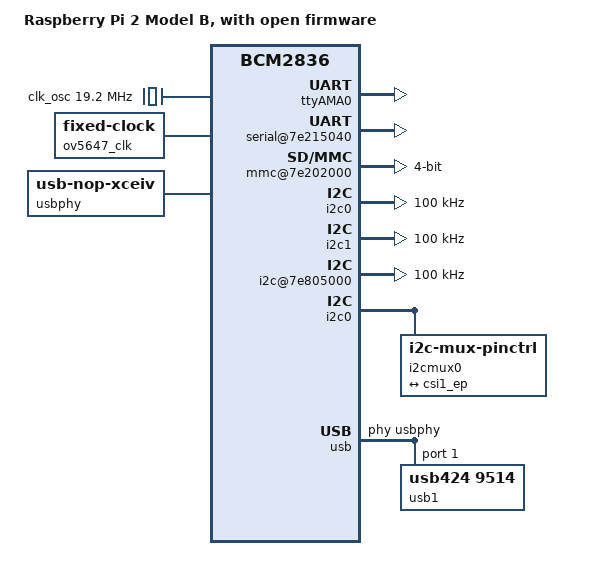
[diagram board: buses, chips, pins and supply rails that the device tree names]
/dts-v1/;

// #define IRQ_TYPE_LEVEL_HIGH      4

#define BCM2835_PLLB_ARM          7
#define BCM2835_CLOCK_UART       19
#define BCM2835_CLOCK_VPU        20
#define BCM2835_CLOCK_V3D        21
#define BCM2835_CLOCK_ISP        22
#define BCM2835_CLOCK_H264       23
#define BCM2835_CLOCK_PERI_IMAGE 29
#define BCM2835_CLOCK_CAM1       46

#define RPI_POWER_DOMAIN_UNICAM1 13

/memreserve/ 0x00000000 0x00001000;

/ {
  compatible = "raspberrypi,2-model-b", "brcm,bcm2836";
  model = "Raspberry Pi 2 Model B, with open firmware";
  #address-cells = <0x01>;
  #size-cells = <0x01>;
  interrupt-parent = <&intc>;

  aliases {
    ethernet0 = &ethernet;
    mmc0 = "/soc/mmc@7e202000";
    framebuffer0 = &framebuffer0;
  };
  chosen {
    stdout-path = &ttyAMA0;
  };
  system {
    compatible = "simple-bus";
    #address-cells = <1>;
    #size-cells = <1>;
    ranges = <>;
    framebuffer0: framebuffer@8000000 {
      compatible = "simple-framebuffer";
      reg = <0x8000000 160000>;
      width = <200>;
      height = <200>;
      stride = <800>;
      format = "a8r8g8b8";
      status = "disabled"; // disabled by default, the bootloader will fill in the right numbers, and enable
    };
  };
  memory {
    device_type = "memory";
  };
  soc {
    compatible = "simple-bus";
    #address-cells = <0x01>;
    #size-cells = <0x01>;
    //        child       parent       length
    ranges = <0x7e000000 0x3f000000 0x1000000 /* map the MMIO space to 0x3f000000 in arm, 16mb long */
              0x40000000 0x40000000 0x1000>; /* identity map the local_intc, 0x1000 bytes long */
    dma-ranges = <0xc0000000 0x00 0x3f000000>; /* map arm physical 0 to the uncached alias, 1008mb long */
    ttyAMA0: serial@7e201000 {
      compatible = "brcm,bcm2835-pl011", "arm,pl011", "arm,primecell";
      reg = <0x7e201000 0x200>;
      interrupts = <2 25>;        // bank 2 irq 25, aka gpu irq 57
      clocks = <&clocks BCM2835_CLOCK_UART
                &clocks BCM2835_CLOCK_VPU>;
      clock-names = "uartclk", "apb_pclk";
      arm,primecell-periphid = <0x241011>;
      cts-event-workaround;
      //pinctrl-names = "default";
      //pinctrl-0 = <0x08 0x09>;
      status = "okay";
    };
    serial@7e215040 {
      compatible = "brcm,bcm2835-aux-uart";
      reg = <0x7e215040 0x40>;
      //interrupts = <0x01 0x1d>;
      //clocks = <0x12 0x00>;
      status = "okay";
      //pinctrl-names = "default";
      //pinctrl-0 = <0x13>; FIXME, should refer to a pinset in the gpio block
    };
    dma: dma@7e007000 {
      compatible = "brcm,bcm2835-dma";
      reg = <0x7e007000 0xf00>;
      interrupts = <1 16>,
                   <1 17>,
                   <1 18>,
                   <1 19>,
                   <1 20>,
                   <1 21>,
                   <1 22>,
                   <1 23>,
                   <1 24>,
                   <1 25>,
                   <1 26>,
                   /* dma channel 11-14 share one irq */
                   <1 27>,
                   <1 27>,
                   <1 27>,
                   <1 27>,
                   /* unused shared irq for all channels */
                   <1 28>;
      interrupt-names = "dma0",
                        "dma1",
                        "dma2",
                        "dma3",
                        "dma4",
                        "dma5",
                        "dma6",
                        "dma7",
                        "dma8",
                        "dma9",
                        "dma10",
                        "dma11",
                        "dma12",
                        "dma13",
                        "dma14",
                        "dma-shared-all";
      #dma-cells = <1>;
      brcm,dma-channel-mask = <0x7f30>;
    };
    intc: interrupt-controller@7e00b200 {
      compatible = "brcm,bcm2836-armctrl-ic";
      reg = <0x7e00b200 0x200>;
      interrupt-controller;
      #interrupt-cells = <0x02>;
      interrupt-parent = <&local_intc>;
      interrupts = <8 4>;
    };
    // allows linux to reboot by setting up the watchdog and not feeding it
    pm: watchdog@7e100000 {
      compatible = "brcm,bcm2835-pm", "brcm,bcm2835-pm-wdt";
      #power-domain-cells = <1>;
      #reset-cells = <1>;
      reg = <0x7e100000 0x114>, <0x7e00a000 0x24>;
      clocks = <&clocks BCM2835_CLOCK_V3D>, <&clocks BCM2835_CLOCK_PERI_IMAGE>, <&clocks BCM2835_CLOCK_H264>, <&clocks BCM2835_CLOCK_ISP>;
      clock-names = "v3d", "peri_image", "h264", "isp";
      system-power-controller;
    };
    clocks: cprman@7e101000 {
      compatible = "brcm,bcm2835-cprman";
      #clock-cells = <1>;
      reg = <0x7e101000 0x2000>;

      /* CPRMAN derives almost everything from the
       * platform's oscillator.  However, the DSI
       * pixel clocks come from the DSI analog PHY.
       */
      clocks = <&clk_osc>;
              //<&dsi0 0>, <&dsi0 1>, <&dsi0 2>,
              //<&dsi1 0>, <&dsi1 1>, <&dsi1 2>;
    };
    gpio: gpio@7e200000 {
      compatible = "brcm,bcm2835-gpio";
      reg = <0x7e200000 0xb4>;
      interrupts = <&intc 0x11>,
                   <&intc 0x12>;
      gpio-controller;
      #gpio-cells = <0x02>;
      interrupt-controller;
      #interrupt-cells = <0x02>;
      pinctrl-names = "default";

      i2c0_bus0_pins: i2c0_gpio0 {
        brcm,pins = <0 1>;
        brcm,function = <0x04>;
      };
      i2c0_bus28_pins: i2c0_gpio28 {
        // on a pi2, this leads to the camera sensor
        // the camera is only going to respond if gpio41 is HIGH
        brcm,pins = <28 29>;
        brcm,function = <0x04>;
      };
      i2c0_cam: i2c0_gpio44 {
        // note, do not use on pi2
        brcm,pins = <44 45>;
        brcm,function = <0x05>;
      };
      i2c0_bus46_pins: i2c0_bus46 {
        brcm,pins = <46 47>;
        brcm,function = <0x04>;
      };

      i2c1_bus2: i2c1_gpio2 {
        brcm,pins = <2 3>;
        brcm,function = <0x04>;
      };
      i2c1_cam: i2c1_gpio44 {
        brcm,pins = <44 45>;
        brcm,function = <0x06>;
      };
      i2c1_smps: i2c1_smps {
        brcm,pins = <46 47>;
        brcm,function = <0x05>;
      };

      sdhost: sdhost_gpio48 {
        brcm,pins = <48 49 50 51 52 53>;
        brcm,function = <0x04>;
      };
    };
    mmc@7e202000 {
      compatible = "brcm,bcm2835-sdhost";
      reg = <0x7e202000 0x100>;
      interrupts = <2 24>;        // bank 2 irq 24, aka gpu irq 56
      clocks = <&clocks BCM2835_CLOCK_VPU>;
      dmas = <&dma (13|(1<<29))>; //0x2000000d>;
      dma-names = "rx-tx";
      status = "okay";
      pinctrl-names = "default";
      pinctrl-0 = <&sdhost>;
      bus-width = <0x04>;
      brcm,overclock-50 = <0x00>;
      brcm,pio-limit = <0x01>;
      //brcm,debug = <1>;
    };
    i2c0: i2c@7e205000 {
      compatible = "brcm,bcm2835-i2c";
      reg = <0x7e205000 0x200>;
      interrupts = <2 21>;
      clocks = <&clocks BCM2835_CLOCK_VPU>;
      #address-cells = <1>;
      #size-cells = <0>;
      //pinctrl-names = "default";
      //pinctrl-0 = <&i2c0_bus0>;
      clock-frequency = <100000>;
    };
    csi1: csi@7e801000 {
      compatible = "brcm,bcm2835-unicam";
      reg = <0x7e801000 0x800>, <0x7e802004 0x4>;
      interrupts = <2 7>;
      clocks = <&clocks BCM2835_CLOCK_CAM1>, <&clocks BCM2835_CLOCK_VPU>;
      clock-names = "lp", "vpu";
      #address-cells = <1>;
      #size-cells = <0>;
      #clock-cells = <1>;
      //power-domains = <&power RPI_POWER_DOMAIN_UNICAM1>;
      brcm,num-data-lanes = <2>;
      status = "disabled";
      port {
        csi1_ep: endpoint {
          remote-endpoint = <&ov5647_0>;
          data-lanes = <1 2>;
        };
      };
    };
    i2c1: i2c@7e804000 {
      compatible = "brcm,bcm2835-i2c";
      reg = <0x7e804000 0x1000>;
      interrupts = <2 21>;
      clocks = <&clocks BCM2835_CLOCK_VPU>;
      #address-cells = <1>;
      #size-cells = <0>;
      //pinctrl-names = "default";
      //pinctrl-0 = <&i2c1>;
      clock-frequency = <100000>; // 100khz
    };
    i2c@7e805000 { // i2c2
      compatible = "brcm,bcm2835-i2c";
      reg = <0x7e805000 0x1000>;
      interrupts = <2 21>;
      clocks = <&clocks BCM2835_CLOCK_VPU>;
      #address-cells = <1>;
      #size-cells = <0>;
      clock-frequency = <100000>; // 100khz
    };
    i2cmux0 {
      compatible = "i2c-mux-pinctrl";
      #address-cells = <1>;
      #size-cells = <0>;
      i2c-parent = <&i2c0>;
      pinctrl-names = "bus0", "bus28";
      pinctrl-0 = <&i2c0_bus0_pins>;
      pinctrl-1 = <&i2c0_bus28_pins>;

      i2c0_bus0: i2c@0 {
        reg = <0>;
        #address-cells = <1>;
        #size-cells = <0>;
      };
      i2c0_bus28: i2c@1 {
        reg = <1>;
        #address-cells = <1>;
        #size-cells = <0>;
        ov5647: ov5647@36 {
          compatible = "ovti,ov5647";
          reg = <0x36>;
          pwdn-gpios = <&gpio 41 1>, <&gpio 32 1>;
          clocks = <&ov5647_clk>;
          rotation = <0>;
          orientation = <2>;
          status = "disabled";
          port {
            ov5647_0: endpoint {
              remote-endpoint = <&csi1_ep>;
              clock-lanes = <0>;
              data-lanes = <1 2>;
              clock-noncontinuous;
              link-frequencies = /bits/ 64 <297000000>;
            };
          };
        };
      };
    };

    i2cmux1 {
      compatible = "i2c-mux-pinctrl";
      #address-cells = <1>;
      #size-cells = <0>;
      i2c-parent = <&i2c1>;
      pinctrl-names = "bus2", "cam1", "smps1";
      pinctrl-0 = <&i2c1_bus2>;
      pinctrl-1 = <&i2c1_cam>;
      pinctrl-2 = <&i2c1_smps>;
      status = "disabled"; // not much need for the 2nd mux
    };
    local_intc: local_intc@40000000 {
      compatible = "brcm,bcm2836-l1-intc";
      reg = <0x40000000 0x100>;
      interrupt-controller;
      #interrupt-cells = <2>;
      interrupt-parent = <&local_intc>;
    };
    usb: usb@7e980000 {
      compatible = "brcm,bcm2835-usb";
      reg = <0x7e980000 0x10000>;
      interrupts = <1 9>;
      #address-cells = <1>;
      #size-cells = <0>;
      clocks = <&clk_usb>;
      clock-names = "otg";
      phys = <&usbphy>;
      phy-names = "usb2-phy";
      usb1@1 {
        compatible = "usb424,9514";
        reg = <1>;
        #address-cells = <1>;
        #size-cells = <0>;
        ethernet: usbether@1 {
          compatible = "usb424,ec00";
          reg = <1>;
          local-mac-address = [ b8 27 eb 77 df 95 ];
        };
      };
    };
  };
  clocks {
    compatible = "simple-bus";
    #address-cells = <1>;
    #size-cells = <0>;

    clk_osc: clock@3 {
      compatible = "fixed-clock";
      reg = <3>;
      #clock-cells = <0>;
      clock-output-names = "osc";
      clock-frequency = <19200000>;
    };
    clk_usb: clock@4 {
      compatible = "fixed-clock";
      reg = <4>;
      #clock-cells = <0>;
      clock-output-names = "otg";
      clock-frequency = <480000000>;
    };
    ov5647_clk: camera-clk {
      compatible = "fixed-clock";
      #clock-cells = <0>;
      clock-frequency = <25000000>;
    };
  };
  usbphy: phy {
    compatible = "usb-nop-xceiv";
    #phy-cells = <0>;
  };
  arm-pmu {
    compatible = "arm,cortex-a7-pmu";
    interrupt-parent = <&local_intc>;
    interrupts = <9 4>;
  };
  timer {
    compatible = "arm,armv7-timer";
    interrupt-parent = <&local_intc>;
    interrupts = <0x00 0x04
                  0x01 0x04
                  0x03 0x04
                  0x02 0x04>;
    always-on;
  };
  cpus {
    #address-cells = <1>;
    #size-cells = <0>;
    v7_cpu0: cpu@0 {
      device_type = "cpu";
      compatible = "arm,cortex-a7";
      reg = <0xf00>;
      clock-frequency = <800000000>; // TODO, set from loader.cc?
      operating-points = <
        /* khz    uV */
        100000    1100000
        200000    1100000
      >;
      clocks = <&clocks BCM2835_PLLB_ARM>;
    };
  };
};
